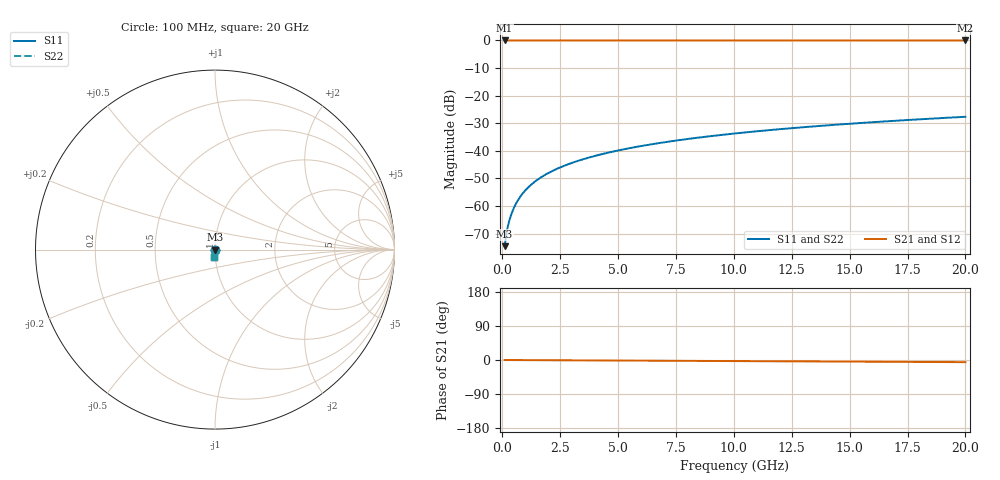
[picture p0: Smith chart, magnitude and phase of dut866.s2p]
! Touchstone file exported from HFSS 2026.1.0
!  File:  C:/ffzhzh/LocalFiles/Ansys_Project_Files/temp_train_TSV_866_1783185449_22436.aedt
!  Generated:  01:18:52 AM Jul  5, 2026
!  Design:  TSV
!  Project:  temp_train_TSV_866_1783185449_22436
! Variables:
!  h_bsmrdl = 2um
!  h_ox = 20um
!  h_rdl = 5um
!  h_sub = 51.32um
!  h_tmrdl = 5um
!  h_tsv = 51.32um
!  h_via = 3um
!  l_bsmrdl = 300um
!  l_sub = 426.38um
!  l_tmrdl = 200um
!  m_sub = 200um
!  pitch = 36.73um
!  r_tsv = 13.19um
!  s_tmrdl = 10um
!  w_bsmrdl = 18um
!  w_sub = 500um
!  w_tmrdl = 12um
!  x_tsv_center1 = 206um
!  x_tsv_center2 = 524um
!  x_tsv_center3 = 736um
!  x_tsv_center4 = 1054um
!  x_tsv_center5 = 1266um
!  x_tsv_center6 = 1584um
# GHz S MA R 50.000000
! Terminal data exported
! Port[1] = TSV1_1_T1
! Port[2] = TSV1_1_T2
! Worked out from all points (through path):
!   200 points, 100 MHz to 20 GHz, reference 50 ohm
!   highest |S21| = 0.00 dB at 100 MHz (marker M1); lowest = 0.0 dB at 20 GHz (marker M2)
!   lowest |S11| = -74.5 dB at 100 MHz (marker M3), VSWR 1.00, Z = 50 - j0.0174 ohm
!   |S11| at or under -10 dB: start of sweep to end of sweep
!   |S22| runs from -74.5 to -27.7 dB; largest |S21 - S12| = 6.6e-15
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0.1  0.0001873 -68.6  0.9999 -0.0  0.9999 -0.0  0.0001873 -68.6
! Gamma 0 0 0 0
! Port Impedance 50 0 50 0
0.2  0.0003605 -77.3  0.9999 -0.1  0.9999 -0.1  0.0003605 -77.3
0.3  0.0005422 -80.0  0.9999 -0.1  0.9999 -0.1  0.0005422 -80.0
0.4  0.0007303 -81.2  0.9999 -0.1  0.9999 -0.1  0.0007303 -81.2
0.5  0.0009238 -82.0  0.9999 -0.1  0.9999 -0.1  0.0009238 -82.0
0.7  0.001322 -83.0  0.9998 -0.2  0.9998 -0.2  0.001322 -83.0
0.8  0.001524 -83.4  0.9998 -0.2  0.9998 -0.2  0.001524 -83.4
1  0.001932 -84.2  0.9998 -0.3  0.9998 -0.3  0.001932 -84.2
1.2  0.002342 -84.9  0.9998 -0.3  0.9998 -0.3  0.002342 -84.9
1.4  0.002752 -85.4  0.9998 -0.4  0.9998 -0.4  0.002752 -85.4
1.7  0.003368 -86.1  0.9997 -0.5  0.9997 -0.5  0.003368 -86.1
2  0.003983 -86.6  0.9997 -0.6  0.9997 -0.6  0.003983 -86.6
2.7  0.005418 -87.5  0.9997 -0.8  0.9997 -0.8  0.005418 -87.5
3.5  0.007062 -88.2  0.9996 -1.0  0.9996 -1.0  0.007062 -88.2
4.2  0.008504 -88.6  0.9996 -1.2  0.9996 -1.2  0.008504 -88.6
5  0.01016 -89.1  0.9995 -1.4  0.9995 -1.4  0.01016 -89.1
6.8  0.01389 -89.9  0.9994 -1.9  0.9994 -1.9  0.01389 -89.9
8.3  0.01701 -90.5  0.9993 -2.4  0.9993 -2.4  0.01701 -90.5
10.1  0.02076 -91.2  0.9992 -2.9  0.9992 -2.9  0.02076 -91.2
13.4  0.02763 -92.4  0.9989 -3.8  0.9989 -3.8  0.02763 -92.4
16.7  0.03451 -93.5  0.9986 -4.7  0.9986 -4.7  0.03451 -93.5
20  0.04139 -94.5  0.9983 -5.7  0.9983 -5.7  0.04139 -94.5
